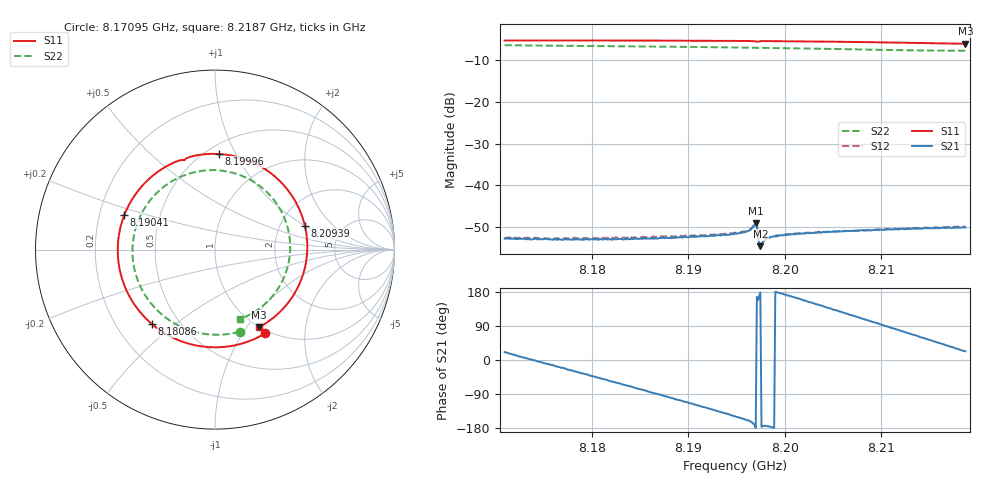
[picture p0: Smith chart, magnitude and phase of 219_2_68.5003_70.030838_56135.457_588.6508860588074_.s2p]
#  HZ  S  RI  R  50.00
! Rohde & Schwarz Vector Network Analyzer
! Rohde-Schwarz,ZNB20-2Port,1311601062101988,3.16
! Created: UTC 3/20/2024, 4:58:21 PM
! freq[Hz]  re:S11  im:S11  re:S21  im:S21  re:S12  im:S12  re:S22  im:S22
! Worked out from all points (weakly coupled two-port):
!   401 points, 8.17095 GHz to 8.2187 GHz, reference 50 ohm
!   highest |S21| = -49.05 dB at 8.19697 GHz (marker M1); lowest = -54.6 dB at 8.19745 GHz (marker M2)
!   lowest |S11| = -6.1 dB at 8.2187 GHz (marker M3), VSWR 2.97, Z = 49.4 - j56.9 ohm
!   |S11| at or under -10 dB: nowhere
!   |S22| runs from -7.7 to -6.4 dB; largest |S21 - S12| = 0.00017
!   S11 on the Smith chart (normalised r, x): 8.17095 GHz: 0.96, -1.27; 8.18086 GHz: 0.35, -0.41; 8.19041 GHz: 0.31, +0.17; 8.19996 GHz: 0.58, +0.86; 8.20939 GHz: 2.74, +1.00; 8.2187 GHz: 0.99, -1.14
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8.170949e9  0.2811 -0.4661  0.00216 0.000817  0.00217 0.000813  0.1376 -0.4575
8.175008e9  0.0186 -0.5442  0.00224 -0.00032  0.00228 -0.000253  -0.0927 -0.4631
8.178948e9  -0.2433 -0.4866  0.00186 -0.00129  0.0019 -0.00136  -0.291 -0.3661
8.180858e9  -0.3529 -0.4135  0.00152 -0.00171  0.00151 -0.00173  -0.3651 -0.2888
8.183962e9  -0.4847 -0.245  0.000809 -0.00211  0.000804 -0.00227  -0.4423 -0.1351
8.186947e9  -0.5402 -0.0458  -2.55e-05 -0.00234  -9.95e-05 -0.00242  -0.4585 0.0294
8.190409e9  -0.5055 0.192  -0.00104 -0.0022  -0.00116 -0.00221  -0.4034 0.2121
8.192558e9  -0.432 0.3232  -0.00163 -0.00186  -0.00178 -0.00186  -0.3321 0.3078
8.194826e9  -0.318 0.4341  -0.00227 -0.00139  -0.00236 -0.00134  -0.2321 0.3853
8.196139e9  -0.2374 0.4812  -0.00265 -0.00102  -0.00274 -0.000909  -0.1653 0.4159
8.196855e9  -0.1876 0.4992  -0.00332 -0.000486  -0.0034 -0.000375  -0.1268 0.428
8.196975e9  -0.1786 0.4995  -0.00353 -2.04e-05  -0.0036 0.000112  -0.1205 0.4296
8.197452e9  -0.1567 0.5099  -0.00187 5.43e-05  -0.0019 0.000117  -0.0943 0.4354
8.197572e9  -0.1481 0.5133  -0.00196 -0.000128  -0.00202 -4.8e-05  -0.0877 0.4366
8.198527e9  -0.0802 0.5286  -0.00239 -0.000155  -0.00242 -4.24e-05  -0.0339 0.4424
8.199959e9  0.0212 0.5328  -0.00251 0.000318  -0.00253 0.000449  0.0473 0.4385
8.202825e9  0.2165 0.4832  -0.00236 0.0013  -0.00232 0.00141  0.2017 0.3858
8.206287e9  0.4063 0.331  -0.00154 0.00236  -0.00147 0.00242  0.3478 0.2494
8.209391e9  0.5008 0.1328  -0.000449 0.0029  -0.000357 0.00292  0.4141 0.0781
8.210823e9  0.5142 0.0313  0.000179 0.00298  0.00023 0.00298  0.4185 -0.00837
8.214524e9  0.454 -0.2246  0.00169 0.00256  0.00179 0.00255  0.3471 -0.2237
8.218703e9  0.2424 -0.4336  0.00287 0.00122  0.00299 0.00116  0.1396 -0.3866
